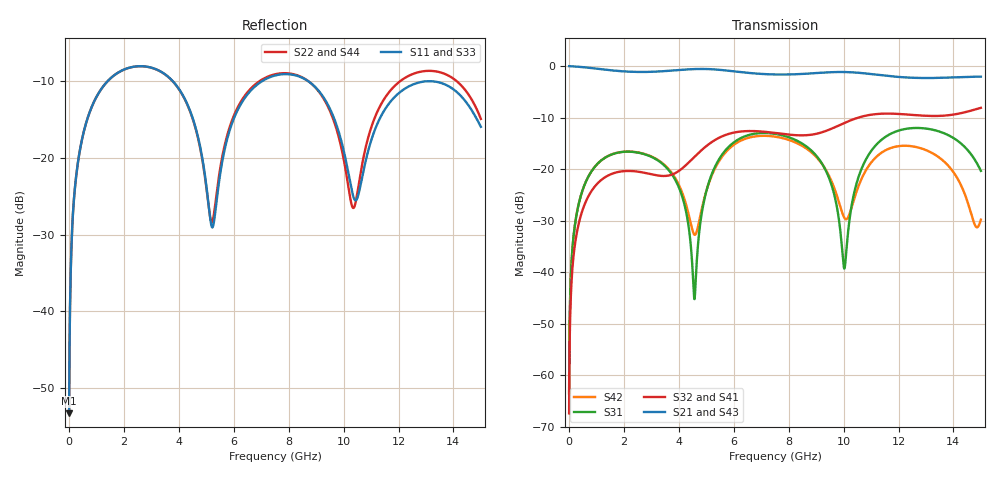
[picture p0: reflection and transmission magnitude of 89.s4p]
! Created with skrf 1.8.0 (http://scikit-rf.org).
# GHz S RI R 50.0
!freq ReS11 ImS11 ReS12 ImS12 ReS13 ImS13
! ReS14 ImS14
! ReS21 ImS21 ReS22 ImS22 ReS23 ImS23
! ReS24 ImS24
! ReS31 ImS31 ReS32 ImS32 ReS33 ImS33
! ReS34 ImS34
! ReS41 ImS41 ReS42 ImS42 ReS43 ImS43
! ReS44 ImS44
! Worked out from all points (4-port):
!   2499 points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, 5 MHz to 15 GHz, reference 50 ohm
!   strongest paths, dB at 5 MHz, 3.476 GHz, 7.19 GHz, 11.1 GHz, 15 GHz:
!     S21: 0.0, -1.0, -1.6, -1.6, -2.1
!     S43: 0.0, -1.0, -1.6, -1.6, -2.1
!     S32: -67.4, -21.3, -12.8, -9.4, -8.1
!     S41: -67.4, -21.4, -12.9, -9.4, -8.1
!     S31: -63.5, -19.3, -13.0, -15.8, -20.3
!     S42: -63.5, -19.2, -13.5, -18.1, -29.8
!   lowest |S11| = -53.3 dB at 5 MHz (marker M1), VSWR 1.00, Z = 50.2 + j0.132 ohm
!   |S11| at or under -10 dB: 3.783 GHz to 7.025 GHz (3.242 GHz wide, 60 % of centre); 8.717 GHz to 13.02 GHz (4.305 GHz wide, 39.6 % of centre); 13.22 GHz to end of sweep (the widest 3 of 4)
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0.005  0.00172 0.00131  0.9982 -0.00336  8.61e-05 0.000663  -8.38e-05 -0.000419
       0.9982 -0.00336  0.00172 0.00131  -8.38e-05 -0.000419  8.61e-05 0.000663
       8.61e-05 0.000663  -8.38e-05 -0.000419  0.00172 0.00131  0.9982 -0.00336
       -8.38e-05 -0.000419  8.61e-05 0.000663  0.9982 -0.00336  0.00172 0.00131
0.3626511  0.0329 0.0979  0.9546 -0.2395  0.0153 0.0444  -0.0127 -0.0274
           0.9546 -0.2395  0.0329 0.0979  -0.0127 -0.0274  0.0153 0.0444
           0.0153 0.0444  -0.0127 -0.0274  0.0329 0.0979  0.9546 -0.2395
           -0.0127 -0.0274  0.0153 0.0444  0.9546 -0.2395  0.0329 0.0979
1.619545  0.3001 0.1663  0.4836 -0.7656  0.1318 0.0496  -0.0911 0.00397
          0.4836 -0.7656  0.2999 0.1665  -0.0912 0.00414  0.1324 0.0487
          0.1318 0.0496  -0.0912 0.00414  0.3 0.1664  0.4836 -0.7656
          -0.0911 0.00397  0.1324 0.0487  0.4836 -0.7656  0.2999 0.1664
4.570654  0.0886 -0.1416  -0.8348 -0.4224  -0.00533 -0.00124  -0.0566 0.1189
          -0.8348 -0.4224  0.0897 -0.1383  -0.0551 0.1196  -0.0212 -0.00916
          -0.00533 -0.00124  -0.0551 0.1196  0.0885 -0.1417  -0.8348 -0.4223
          -0.0566 0.1189  -0.0212 -0.00916  -0.8348 -0.4223  0.0899 -0.1383
8.04085  0.3492 -0.0346  -0.0152 0.8298  0.1825 -0.0873  0.2012 -0.0715
         -0.0152 0.8298  0.3524 -0.0444  0.2019 -0.0768  0.1774 -0.07
         0.1825 -0.0873  0.2019 -0.0768  0.3481 -0.0309  -0.015 0.8298
         0.2012 -0.0715  0.1774 -0.07  -0.015 0.8298  0.3534 -0.0482
10.02293  0.0711 -0.0813  0.8022 0.3516  0.0106 -0.00225  0.1076 -0.2586
          0.8022 0.3516  0.0618 -0.0713  0.0992 -0.2621  -0.0318 -0.0118
          0.0106 -0.00225  0.0992 -0.2621  0.0748 -0.0783  0.8026 0.3509
          0.1076 -0.2586  -0.0318 -0.0118  0.8026 0.3509  0.0567 -0.0723
15  0.1443 -0.0685  -0.6213 -0.4867  -0.0636 -0.0722  -0.2438 0.3093
    -0.6213 -0.4867  0.121 -0.1329  -0.2293 0.3201  -0.0309 0.00962
    -0.0636 -0.0722  -0.2293 0.3201  0.1522 -0.0653  -0.6208 -0.4861
    -0.2438 0.3093  -0.0309 0.00962  -0.6208 -0.4861  0.1174 -0.1376
